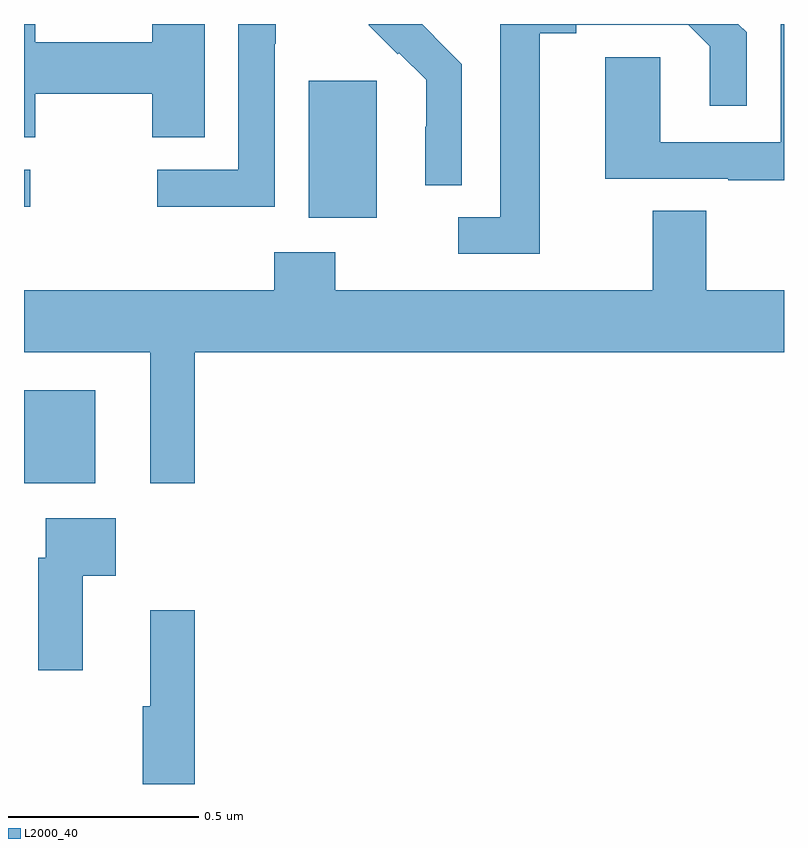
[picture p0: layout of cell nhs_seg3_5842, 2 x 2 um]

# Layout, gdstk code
import gdstk
lib = gdstk.Library(unit=1e-6, precision=1e-09)
def R(c, l, rs):  # rectangles x0, y0, x1, y1
    for r in rs: c.add(gdstk.rectangle(r[:2], r[2:], *l))
def P(c, l, *ps):  # polygons
    for p in ps: c.add(gdstk.Polygon(p, *l))
L2000_40 = (2000, 40)

nhs_seg3_5842 = lib.new_cell('nhs_seg3_5842')
R(nhs_seg3_5842, L2000_40, [(183,747.191,183.187,747.436), (183.749,747.89,183.928,748.251), (183,747.919,183.016,748.017)])
P(nhs_seg3_5842, L2000_40, [(184.152,748.294),(184.079,748.367),(184.08,748.368),(184.048,748.4),(183.907,748.4),(183.907,748.397),(183.984,748.32),(183.987,748.323),(184.058,748.253),(184.058,748.13),(184.056,748.13),(184.056,747.976),(184.152,747.976)],
  [(183.66,748.348),(183.663,748.348),(183.663,748.4),(183.564,748.4),(183.564,748.017),(183.351,748.017),(183.351,747.919),(183.66,747.919)],
  [(183.03,748.216),(183.337,748.216),(183.337,748.102),(183.475,748.102),(183.475,748.4),(183.337,748.4),(183.337,748.352),(183.03,748.352),(183.03,748.4),(183,748.4),(183,748.102),(183.03,748.102)],
  [(184.357,748.376),(184.453,748.376),(184.453,748.398),(184.748,748.398),(184.805,748.341),(184.805,748.185),(184.902,748.185),(184.902,748.378),(184.88,748.4),(184.252,748.4),(184.253,748.399),(184.253,747.891),(184.143,747.891),(184.143,747.795),(184.357,747.795)],
  [(185,748.4),(184.992,748.4),(184.992,748.089),(184.674,748.089),(184.674,748.313),(184.529,748.313),(184.529,747.993),(184.853,747.993),(184.853,747.989),(185,747.989)],
  [(183.449,747.536),(185,747.536),(185,747.7),(184.795,747.7),(184.795,747.908),(184.655,747.908),(184.655,747.7),(183.819,747.7),(183.819,747.799),(183.659,747.799),(183.659,747.7),(183,747.7),(183,747.536),(183.332,747.536),(183.332,747.192),(183.449,747.192)],
  [(183.155,746.948),(183.241,746.948),(183.241,747.1),(183.057,747.1),(183.057,746.996),(183.037,746.996),(183.037,746.7),(183.155,746.7)],
  [(183.449,746.857),(183.332,746.857),(183.332,746.604),(183.313,746.604),(183.313,746.4),(183.449,746.4)])

lib.write_gds('nhs_seg3_5842.gds')
